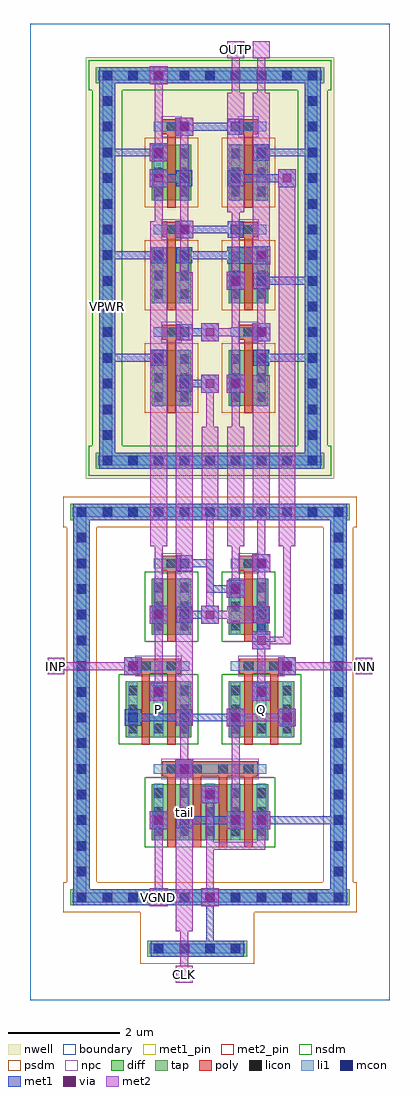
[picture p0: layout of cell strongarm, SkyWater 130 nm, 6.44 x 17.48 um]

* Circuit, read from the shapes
.subckt strongarm CLK INN INP OUTN OUTP P Q VGND VPWR tail
XM1 P INP tail VGND sky130_fd_pr__nfet_01v8 w=1 l=0.15 m=2
XM2 tail CLK VGND VGND sky130_fd_pr__nfet_01v8 w=1 l=0.15 m=4
XM3 OUTN OUTP P VGND sky130_fd_pr__nfet_01v8 w=1 l=0.15
XM4 Q INN tail VGND sky130_fd_pr__nfet_01v8 w=1 l=0.15 m=2
XM5 Q OUTN OUTP VGND sky130_fd_pr__nfet_01v8 w=1 l=0.15
XM6 OUTN OUTP VPWR VPWR sky130_fd_pr__pfet_01v8 w=1 l=0.15
XM7 OUTN CLK VPWR VPWR sky130_fd_pr__pfet_01v8 w=1 l=0.15
XM8 P CLK VPWR VPWR sky130_fd_pr__pfet_01v8 w=1 l=0.15
XM9 VPWR OUTN OUTP VPWR sky130_fd_pr__pfet_01v8 w=1 l=0.15
XM10 VPWR CLK OUTP VPWR sky130_fd_pr__pfet_01v8 w=1 l=0.15
XM11 VPWR CLK Q VPWR sky130_fd_pr__pfet_01v8 w=1 l=0.15
.ends

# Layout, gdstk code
import gdstk
lib = gdstk.Library(unit=1e-6, precision=1e-09)
def R(c, l, rs):  # rectangles x0, y0, x1, y1
    for r in rs: c.add(gdstk.rectangle(r[:2], r[2:], *l))
def A(c, l, x, y, w, h, nx, ny, dx, dy):  # array of equal rectangles
    R(c, l, [(x+i*dx, y+j*dy, x+i*dx+w, y+j*dy+h) for i in range(nx) for j in range(ny)])
nwell = (64, 20)
diff = (65, 20)
tap = (65, 44)
poly = (66, 20)
licon = (66, 44)
li1 = (67, 20)
mcon = (67, 44)
met1_pin = (68, 16)
met1 = (68, 20)
via = (68, 44)
met2_pin = (69, 16)
met2 = (69, 20)
nsdm = (93, 44)
psdm = (94, 20)
npc = (95, 20)
boundary = (235, 4)

strongarm = lib.new_cell('strongarm')
R(strongarm, nwell, [(0.995,9.335,5.445,16.885)])
A(strongarm, diff, 2.175, 10.64, 0.71, 1, 1, 3, 0, 1.84)
A(strongarm, diff, 3.555, 10.64, 0.71, 1, 1, 3, 0, 1.84)
R(strongarm, diff, [(2.175,2.865,4.265,3.865), (1.715,4.705,2.885,5.705), (3.555,4.705,4.725,5.705), (2.175,6.545,2.885,7.545), (3.555,6.545,4.265,7.545)])
R(strongarm, tap, [(2.095,0.775,3.885,1.065), (0.715,1.695,5.725,1.985), (0.775,1.695,1.065,8.885), (5.375,1.695,5.665,8.885), (0.715,8.595,5.725,8.885), (1.175,9.515,5.265,9.805), (1.235,9.515,1.525,16.705), (4.915,9.515,5.205,16.705), (1.175,16.415,5.265,16.705)])
A(strongarm, poly, 2.455, 2.735, 0.15, 1.405, 4, 1, 0.46, 0)
A(strongarm, poly, 2.455, 10.51, 0.15, 1.45, 1, 3, 0, 1.84)
A(strongarm, poly, 3.835, 10.51, 0.15, 1.45, 1, 3, 0, 1.84)
A(strongarm, poly, 2.365, 11.825, 0.33, 0.27, 1, 3, 0, 1.84)
A(strongarm, poly, 3.745, 11.825, 0.33, 0.27, 1, 3, 0, 1.84)
R(strongarm, poly, [(2.365,4.005,4.075,4.275), (1.995,4.575,2.145,5.98), (2.455,4.575,2.605,5.98), (3.835,4.575,3.985,5.98), (4.295,4.575,4.445,5.98), (1.905,5.845,2.695,6.115), (3.745,5.845,4.535,6.115), (2.455,6.415,2.605,7.82), (3.835,6.415,3.985,7.82), (2.365,7.685,2.695,7.955), (3.745,7.685,4.075,7.955)])
A(strongarm, licon, 2.215, 0.835, 0.17, 0.17, 4, 1, 0.46, 0)
A(strongarm, licon, 0.835, 1.755, 0.17, 0.17, 11, 2, 0.46, 6.9)
A(strongarm, licon, 0.835, 2.215, 0.17, 0.17, 1, 14, 0, 0.46)
A(strongarm, licon, 5.435, 2.215, 0.17, 0.17, 1, 14, 0, 0.46)
A(strongarm, licon, 2.215, 2.94, 0.17, 0.17, 5, 3, 0.46, 0.34)
A(strongarm, licon, 2.445, 4.055, 0.17, 0.17, 4, 1, 0.46, 0)
A(strongarm, licon, 1.755, 4.78, 0.17, 0.17, 3, 3, 0.46, 0.34)
A(strongarm, licon, 3.595, 4.78, 0.17, 0.17, 3, 3, 0.46, 0.34)
A(strongarm, licon, 2.215, 6.62, 0.17, 0.17, 1, 3, 0, 0.34)
A(strongarm, licon, 2.675, 6.62, 0.17, 0.17, 1, 3, 0, 0.34)
A(strongarm, licon, 3.595, 6.62, 0.17, 0.17, 1, 3, 0, 0.34)
A(strongarm, licon, 4.055, 6.62, 0.17, 0.17, 1, 3, 0, 0.34)
A(strongarm, licon, 1.295, 9.575, 0.17, 0.17, 9, 2, 0.46, 6.9)
A(strongarm, licon, 1.295, 10.035, 0.17, 0.17, 1, 14, 0, 0.46)
A(strongarm, licon, 4.975, 10.035, 0.17, 0.17, 1, 14, 0, 0.46)
A(strongarm, licon, 2.215, 10.715, 0.17, 0.17, 1, 3, 0, 0.34)
A(strongarm, licon, 2.675, 10.715, 0.17, 0.17, 1, 3, 0, 0.34)
A(strongarm, licon, 3.595, 10.715, 0.17, 0.17, 1, 3, 0, 0.34)
A(strongarm, licon, 4.055, 10.715, 0.17, 0.17, 1, 3, 0, 0.34)
A(strongarm, licon, 2.445, 11.875, 0.17, 0.17, 1, 3, 0, 1.84)
A(strongarm, licon, 3.825, 11.875, 0.17, 0.17, 1, 3, 0, 1.84)
A(strongarm, licon, 2.215, 12.555, 0.17, 0.17, 1, 3, 0, 0.34)
A(strongarm, licon, 2.675, 12.555, 0.17, 0.17, 1, 3, 0, 0.34)
A(strongarm, licon, 3.595, 12.555, 0.17, 0.17, 1, 3, 0, 0.34)
A(strongarm, licon, 4.055, 12.555, 0.17, 0.17, 1, 3, 0, 0.34)
A(strongarm, licon, 2.215, 14.395, 0.17, 0.17, 1, 3, 0, 0.34)
A(strongarm, licon, 2.675, 14.395, 0.17, 0.17, 1, 3, 0, 0.34)
A(strongarm, licon, 3.595, 14.395, 0.17, 0.17, 1, 3, 0, 0.34)
A(strongarm, licon, 4.055, 14.395, 0.17, 0.17, 1, 3, 0, 0.34)
R(strongarm, licon, [(1.985,5.895,2.155,6.065), (2.445,5.895,2.615,6.065), (3.825,5.895,3.995,6.065), (4.285,5.895,4.455,6.065), (2.445,7.735,2.615,7.905), (3.825,7.735,3.995,7.905)])
A(strongarm, li1, 2.215, 2.86, 0.17, 1.01, 5, 1, 0.46, 0)
A(strongarm, li1, 1.755, 4.7, 0.17, 1.01, 3, 1, 0.46, 0)
A(strongarm, li1, 3.595, 4.7, 0.17, 1.01, 3, 1, 0.46, 0)
A(strongarm, li1, 2.215, 10.635, 0.17, 1.01, 1, 3, 0, 1.84)
A(strongarm, li1, 2.675, 10.635, 0.17, 1.01, 1, 3, 0, 1.84)
A(strongarm, li1, 3.595, 10.635, 0.17, 1.01, 1, 3, 0, 1.84)
A(strongarm, li1, 4.055, 10.635, 0.17, 1.01, 1, 3, 0, 1.84)
A(strongarm, li1, 2.215, 11.875, 0.63, 0.17, 1, 3, 0, 1.84)
A(strongarm, li1, 3.595, 11.875, 0.63, 0.17, 1, 3, 0, 1.84)
R(strongarm, li1, [(2.135,0.835,3.845,1.005), (0.755,1.755,5.685,1.925), (0.835,1.755,1.005,8.825), (5.435,1.755,5.605,8.825), (2.215,4.055,4.225,4.225), (1.755,5.895,2.845,6.065), (3.595,5.895,4.685,6.065), (2.215,6.54,2.385,7.55), (2.675,6.54,2.845,7.55), (3.595,6.54,3.765,7.55), (4.055,6.54,4.225,7.55), (2.215,7.735,2.845,7.905), (3.595,7.735,4.225,7.905), (0.755,8.655,5.685,8.825), (1.215,9.575,5.225,9.745), (1.295,9.575,1.465,16.645), (4.975,9.575,5.145,16.645), (1.215,16.475,5.225,16.645)])
A(strongarm, mcon, 2.215, 0.835, 0.17, 0.17, 4, 1, 0.46, 0)
A(strongarm, mcon, 0.835, 1.755, 0.17, 0.17, 11, 2, 0.46, 6.9)
A(strongarm, mcon, 0.835, 2.215, 0.17, 0.17, 1, 3, 0, 0.46)
A(strongarm, mcon, 5.435, 2.215, 0.17, 0.17, 1, 3, 0, 0.46)
A(strongarm, mcon, 0.835, 3.595, 0.17, 0.17, 3, 1, 2.3, 0)
A(strongarm, mcon, 0.835, 4.975, 0.17, 0.17, 6, 1, 0.92, 0)
A(strongarm, mcon, 0.835, 5.435, 0.17, 0.17, 1, 7, 0, 0.46)
A(strongarm, mcon, 5.435, 5.435, 0.17, 0.17, 1, 3, 0, 0.46)
A(strongarm, mcon, 2.675, 6.815, 0.17, 0.17, 3, 2, 1.38, 0.92)
A(strongarm, mcon, 1.295, 9.575, 0.17, 0.17, 9, 2, 0.46, 6.9)
A(strongarm, mcon, 1.295, 10.035, 0.17, 0.17, 1, 4, 0, 0.46)
A(strongarm, mcon, 4.975, 10.035, 0.17, 0.17, 1, 14, 0, 0.46)
A(strongarm, mcon, 2.215, 11.415, 0.17, 0.17, 1, 3, 0, 1.84)
A(strongarm, mcon, 1.295, 11.875, 0.17, 0.17, 3, 1, 1.38, 0)
A(strongarm, mcon, 1.295, 12.335, 0.17, 0.17, 1, 9, 0, 0.46)
A(strongarm, mcon, 3.595, 12.795, 0.17, 0.17, 1, 4, 0, 0.92)
A(strongarm, mcon, 2.675, 13.715, 0.17, 0.17, 1, 3, 0, 0.92)
R(strongarm, mcon, [(2.215,3.135,2.385,3.305), (2.675,3.135,2.845,3.305), (3.595,3.135,3.765,3.305), (4.055,3.135,4.225,3.305), (0.835,4.055,1.005,4.225), (2.675,4.055,2.845,4.225), (5.435,4.055,5.605,4.225), (0.835,4.515,1.005,4.685), (5.435,4.515,5.605,4.685), (2.215,5.435,2.385,5.605), (4.055,5.435,4.225,5.605), (1.755,5.895,1.925,6.065), (4.515,5.895,4.685,6.065), (2.215,6.815,2.385,6.985), (3.595,7.275,3.765,7.445), (5.435,7.275,5.605,7.445), (5.435,8.195,5.605,8.365), (2.675,10.955,2.845,11.125), (3.595,10.955,3.765,11.125), (4.055,11.415,4.225,11.585), (4.055,12.795,4.225,12.965), (2.675,13.255,2.845,13.425), (4.055,15.095,4.225,15.265)])
R(strongarm, met1_pin, [(2.14,1.68,2.46,2), (1.31,11.43,1.45,13.41)])
A(strongarm, met1, 1.695, 4.915, 0.29, 0.29, 4, 1, 0.92, 0)
A(strongarm, met1, 2.155, 11.355, 0.29, 0.29, 1, 3, 0, 1.84)
A(strongarm, met1, 1.31, 11.43, 1.06, 0.14, 1, 3, 0, 1.84)
A(strongarm, met1, 3.535, 12.735, 0.29, 0.29, 1, 4, 0, 0.92)
A(strongarm, met1, 2.615, 13.655, 0.29, 0.29, 1, 3, 0, 0.92)
R(strongarm, met1, [(2.155,0.775,3.825,1.065), (3.15,0.85,3.29,0.99), (3.15,0.85,3.29,1.91), (2.14,1.68,2.46,2), (3.06,1.68,3.38,2), (0.775,1.695,5.665,1.985), (0.775,1.695,1.065,8.885), (5.375,1.695,5.665,8.885), (2.23,1.77,3.29,1.91), (3.15,1.77,3.29,1.91), (2.14,3.06,2.46,3.38), (3.52,3.06,3.84,3.38), (3.98,3.06,4.3,3.38), (2.155,3.075,2.445,3.365), (2.615,3.075,2.905,3.365), (3.535,3.075,3.825,3.365), (3.995,3.075,4.285,3.365), (2.69,3.15,3.75,3.29), (4.07,3.15,5.59,3.29), (5.45,3.15,5.59,8.81), (3.06,3.52,3.38,3.84), (3.075,3.535,3.365,3.825), (2.6,3.98,2.92,4.3), (2.615,3.995,2.905,4.285), (3.52,4.9,3.84,5.22), (4.44,4.9,4.76,5.22), (1.77,4.99,2.83,5.13), (2.69,4.99,3.75,5.13), (2.14,5.36,2.46,5.68), (3.98,5.36,4.3,5.68), (2.155,5.375,2.445,5.665), (3.995,5.375,4.285,5.665), (1.68,5.82,2,6.14), (4.44,5.82,4.76,6.14), (1.695,5.835,1.985,6.125), (4.455,5.835,4.745,6.125), (3.98,6.28,4.3,6.6), (4.07,6.37,4.21,6.97), (2.14,6.74,2.46,7.06), (3.06,6.74,3.38,7.06), (2.155,6.755,2.445,7.045), (2.615,6.755,2.905,7.045), (3.995,6.755,4.285,7.045), (2.69,6.83,3.29,6.97), (3.52,7.2,3.84,7.52), (3.535,7.215,3.825,7.505), (3.15,7.29,3.75,7.43), (3.15,7.29,3.29,7.89), (3.98,7.66,4.3,7.98), (2.615,7.675,2.905,7.965), (3.995,7.675,4.285,7.965), (2.69,7.75,3.29,7.89), (0.775,8.595,5.665,8.885), (5.45,8.67,5.59,8.81), (1.235,9.515,1.525,16.705), (1.235,9.515,5.205,9.805), (4.915,9.515,5.205,16.705), (3.06,10.88,3.38,11.2), (3.52,10.88,3.84,11.2), (2.615,10.895,2.905,11.185), (3.535,10.895,3.825,11.185), (2.69,10.97,3.29,11.11), (3.995,11.355,4.285,11.645), (1.31,11.43,1.45,13.41), (4.07,11.43,5.13,11.57), (4.99,11.43,5.13,12.95), (3.06,11.8,3.38,12.12), (3.98,11.8,4.3,12.12), (2.615,11.815,2.905,12.105), (3.995,11.815,4.285,12.105), (2.69,11.89,3.29,12.03), (3.52,12.72,3.84,13.04), (3.995,12.735,4.285,13.025), (4.07,12.81,5.13,12.95), (4.99,12.81,5.13,12.95), (4.99,12.81,5.13,16.63), (3.98,13.18,4.3,13.5), (3.53,13.19,4.29,13.49), (2.615,13.195,2.905,13.485), (1.31,13.27,1.45,15.25), (2.69,13.27,3.75,13.41), (2.6,13.64,2.92,13.96), (2.69,13.73,3.75,13.87), (2.14,14.56,2.46,14.88), (4.44,14.56,4.76,14.88), (2.23,14.65,2.83,14.79), (3.61,14.65,4.67,14.79), (2.14,15.02,2.46,15.34), (3.995,15.035,4.285,15.325), (4.07,15.11,5.13,15.25), (2.6,15.48,2.92,15.8), (2.69,15.57,3.75,15.71), (2.14,16.4,2.46,16.72), (1.235,16.415,5.205,16.705), (2.23,16.49,5.13,16.63), (4.99,16.49,5.13,16.63)])
R(strongarm, via, [(2.225,1.765,2.375,1.915), (3.145,1.765,3.295,1.915), (2.225,3.145,2.375,3.295), (3.605,3.145,3.755,3.295), (4.065,3.145,4.215,3.295), (3.145,3.605,3.295,3.755), (2.685,4.065,2.835,4.215), (3.605,4.985,3.755,5.135), (4.525,4.985,4.675,5.135), (2.225,5.445,2.375,5.595), (4.065,5.445,4.215,5.595), (1.765,5.905,1.915,6.055), (4.525,5.905,4.675,6.055), (4.065,6.365,4.215,6.515), (2.225,6.825,2.375,6.975), (3.145,6.825,3.295,6.975), (3.605,7.285,3.755,7.435), (4.065,7.745,4.215,7.895), (3.145,10.965,3.295,11.115), (3.605,10.965,3.755,11.115), (3.145,11.885,3.295,12.035), (4.065,11.885,4.215,12.035), (3.605,12.805,3.755,12.955), (4.065,13.265,4.215,13.415), (2.685,13.725,2.835,13.875), (2.225,14.645,2.375,14.795), (4.525,14.645,4.675,14.795), (2.225,15.105,2.375,15.255), (2.685,15.565,2.835,15.715), (2.225,16.485,2.375,16.635)])
R(strongarm, met2_pin, [(2.61,0.31,2.91,0.61), (0.31,5.83,0.61,6.13), (5.83,5.83,6.13,6.13), (3.53,16.87,3.83,17.17), (3.99,16.87,4.29,17.17)])
R(strongarm, met2, [(2.61,0.31,2.91,0.61), (2.69,0.39,2.83,1.45), (2.69,0.39,2.83,0.53), (2.61,1.23,2.91,3.37), (2.14,1.68,2.46,2), (3.06,1.68,3.38,2), (2.23,1.77,2.37,3.29), (3.15,1.77,3.29,3.75), (3.15,2.69,4.21,2.83), (4.07,2.69,4.21,3.29), (2.14,3.06,2.46,3.38), (3.52,3.06,3.84,3.38), (3.98,3.06,4.3,3.38), (2.69,3.15,2.83,4.21), (3.61,3.15,3.75,5.13), (3.06,3.52,3.38,3.84), (2.6,3.98,2.92,4.3), (2.69,4.07,2.83,5.13), (3.52,4.9,3.84,5.22), (4.44,4.9,4.76,5.22), (2.61,4.91,2.91,13.03), (3.61,4.99,4.67,5.13), (2.14,5.36,2.46,5.68), (3.98,5.36,4.3,5.68), (2.23,5.45,2.37,6.97), (4.07,5.45,4.21,6.51), (1.68,5.82,2,6.14), (4.44,5.82,4.76,6.14), (0.31,5.83,0.61,6.13), (5.83,5.83,6.13,6.13), (0.39,5.91,0.53,6.05), (0.39,5.91,1.91,6.05), (4.53,5.91,6.05,6.05), (5.91,5.91,6.05,6.05), (3.98,6.28,4.3,6.6), (4.07,6.37,4.67,6.51), (4.53,6.37,4.67,8.35), (2.14,6.74,2.46,7.06), (3.06,6.74,3.38,7.06), (3.53,6.75,4.29,7.05), (2.23,6.83,2.37,8.35), (3.15,6.83,3.29,8.81), (3.15,6.83,3.75,6.97), (4.07,6.83,4.21,7.89), (3.52,7.2,3.84,7.52), (3.61,7.29,3.75,8.35), (3.98,7.66,4.3,7.98), (4.07,7.75,4.21,8.81), (2.15,8.13,2.45,13.95), (3.53,8.13,3.83,10.27), (4.45,8.13,4.75,14.87), (3.07,8.59,3.37,10.27), (3.99,8.59,4.29,11.19), (3.15,10.05,3.29,11.11), (3.61,10.05,3.75,11.11), (3.06,10.88,3.38,11.2), (3.52,10.88,3.84,11.2), (3.61,10.97,3.75,12.95), (4.07,10.97,4.21,12.03), (3.06,11.8,3.38,12.12), (3.98,11.8,4.3,12.12), (3.15,11.89,3.75,12.03), (4.07,11.89,4.21,12.95), (3.52,12.72,3.84,13.04), (3.99,12.73,4.29,16.25), (2.69,12.81,2.83,13.87), (3.61,12.81,3.75,14.33), (3.98,13.18,4.3,13.5), (2.6,13.64,2.92,13.96), (2.23,13.73,2.37,14.79), (2.69,13.73,2.83,15.71), (3.53,14.11,3.83,16.25), (2.14,14.56,2.46,14.88), (4.44,14.56,4.76,14.88), (2.14,15.02,2.46,15.34), (2.23,15.11,2.37,16.63), (2.6,15.48,2.92,15.8), (3.61,16.03,3.75,17.09), (4.07,16.03,4.21,17.09), (2.14,16.4,2.46,16.72), (3.53,16.87,3.83,17.17), (3.99,16.87,4.29,17.17), (3.61,16.95,3.75,17.09), (4.07,16.95,4.21,17.09)])
R(strongarm, nsdm, [(2.05,2.74,4.39,3.99), (1.59,4.58,3.01,5.83), (3.43,4.58,4.85,5.83), (2.05,6.42,3.01,7.67), (3.43,6.42,4.39,7.67), (1.05,9.39,5.39,9.93), (1.11,9.93,1.65,16.29), (4.79,9.93,5.33,16.29), (1.05,16.29,5.39,16.83)])
A(strongarm, psdm, 2.05, 10.515, 0.96, 1.25, 1, 3, 0, 1.84)
A(strongarm, psdm, 3.43, 10.515, 0.96, 1.25, 1, 3, 0, 1.84)
R(strongarm, psdm, [(1.97,0.65,4.01,1.57), (0.59,1.57,5.85,2.11), (0.65,2.11,1.19,8.47), (5.25,2.11,5.79,8.47), (0.59,8.47,5.85,9.01)])
A(strongarm, npc, 2.345, 11.775, 0.37, 0.37, 1, 3, 0, 1.84)
A(strongarm, npc, 3.725, 11.775, 0.37, 0.37, 1, 3, 0, 1.84)
R(strongarm, npc, [(2.345,3.955,4.095,4.325), (1.885,5.795,2.715,6.165), (3.725,5.795,4.555,6.165), (2.345,7.635,2.715,8.005), (3.725,7.635,4.095,8.005)])
R(strongarm, boundary, [(0,0,6.44,17.48)])
strongarm.add(gdstk.Label('tail', (2.76,3.365), layer=67, texttype=5))
strongarm.add(gdstk.Label('P', (2.3,5.205), layer=67, texttype=5))
strongarm.add(gdstk.Label('Q', (4.14,5.205), layer=67, texttype=5))
strongarm.add(gdstk.Label('VPWR', (1.38,12.42), layer=68, texttype=5))
strongarm.add(gdstk.Label('VGND', (2.3,1.84), layer=68, texttype=5))
strongarm.add(gdstk.Label('CLK', (2.76,0.46), layer=69, texttype=5))
strongarm.add(gdstk.Label('INP', (0.46,5.98), layer=69, texttype=5))
strongarm.add(gdstk.Label('INN', (5.98,5.98), layer=69, texttype=5))
strongarm.add(gdstk.Label('OUTP', (3.68,17.02), layer=69, texttype=5))
strongarm.add(gdstk.Label('OUTN', (4.14,17.02), layer=69, texttype=5))
strongarm.add(gdstk.Label('VPWR', (1.38,12.42), layer=68, texttype=16))
strongarm.add(gdstk.Label('VGND', (2.3,1.84), layer=68, texttype=16))
strongarm.add(gdstk.Label('CLK', (2.76,0.46), layer=69, texttype=16))
strongarm.add(gdstk.Label('INP', (0.46,5.98), layer=69, texttype=16))
strongarm.add(gdstk.Label('INN', (5.98,5.98), layer=69, texttype=16))
strongarm.add(gdstk.Label('OUTP', (3.68,17.02), layer=69, texttype=16))
strongarm.add(gdstk.Label('OUTN', (4.14,17.02), layer=69, texttype=16))

lib.write_gds('strongarm.gds')
